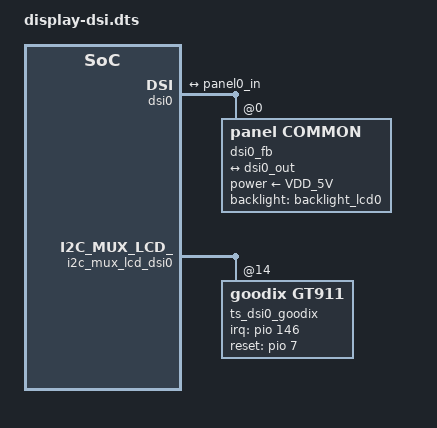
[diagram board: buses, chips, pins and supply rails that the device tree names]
/dts-v1/;
/plugin/;
#include <dt-bindings/gpio/gpio.h>
#include <dt-bindings/interrupt-controller/irq.h>
#include <dt-bindings/pinctrl/mediatek,mt8188-pinfunc.h>

/ {
	fragment@0 {
		target = <&dpi1>;
		__overlay__ {
			status = "disabled";
		};
	};

	fragment@1 {
		target = <&hdmi0>;
		__overlay__ {
			status = "disabled";
		};
	};

	fragment@2 {
		target = <&hdmi_phy>;
		__overlay__ {
			status = "disabled";
		};
	};

	fragment@3 {
		target = <&sound>;
		__overlay__ {
			dai-link-1 { /* HDMI */
				status = "disabled";
			};

			dai-link-2 { /* DPTX */
				status = "disabled";
			};
		};
	};

	fragment@4 {
		target = <&pio>;
		__overlay__ {
			dsi0_sn65dsi83_pins: dsi0-sn65dsi83-pins {
				pins-irq {
					pinmux = <PINMUX_GPIO128__FUNC_B_GPIO128>;
					bias-pull-down;
					input-enable;
				};

				pins-enable {
					pinmux = <PINMUX_GPIO25__FUNC_B_GPIO25>;
					bias-pull-down;
				};
			};

			ts_dsi0_goodix_pins: ts-dsi0-goodix-pins {
				pins-irq {
					pinmux = <PINMUX_GPIO146__FUNC_B_GPIO146>;
					bias-pull-up = <MTK_PUPD_SET_R1R0_01>;
					input-enable;
				};

				pins-reset {
					pinmux = <PINMUX_GPIO7__FUNC_B_GPIO7>;
					bias-pull-down;
				};
			};
		};
	};

	fragment@5 {
		target = <&dsi0>;
		__overlay__ {
			#address-cells = <1>;
			#size-cells = <0>;
			status = "okay";
			poweron-in-hs-mode = <0>;

			dsi0_fb: panel@0 {
				backlight = <&backlight_lcd0>;
				bits-per-color = <8>;
				bridge-de-active = <0>;
				bus-format = "rgb888";
				clocks = <&vdosys0 30>;
				clock-names = "mipi_clk";
				compatible = "panel,common";
				dsi-format = "rgb888";
				dsi-lanes = <4>;
				mode-skip-eot;
				mode-video;
				mode-video-burst;
				panel-height-mm = <136>;
				panel-width-mm = <217>;
				pinctrl-names = "sn65dsi83";
				pinctrl-0 = <&dsi0_sn65dsi83_pins>;
				power-supply = <&VDD_5V>;
				reg = <0>;
				sn65dsi83 = <&dsi0_to_lvds>;
				spwg;

				display-timings {
					mipi_t: t-dsi-default {
						clock-frequency = <71700000>;
						hactive = <1280>;
						vactive = <800>;
						hback-porch = <5>;
						hfront-porch = <151>;
						vback-porch = <2>;
						vfront-porch = <28>;
						hsync-len = <4>;
						vsync-len = <1>;
						hsync-active = <0>;
						vsync-active = <0>;
						de-active = <1>;
					};
				};

				dsi0_to_lvds: dsi0-to-lvds {
					alias = <&dsi0_to_lvds>;
					enable-gpios = <&pio 25 GPIO_ACTIVE_HIGH>;
					i2c-address = <0x2c>;
					i2c-bus = <&i2c_mux_lcd_dsi0>;
					interrupts-extended = <&pio 128 IRQ_TYPE_LEVEL_HIGH>;
				};

				port {
					panel0_in: endpoint {
						remote-endpoint = <&dsi0_out>;
					};
				};
			};

			ports {
				#address-cells = <1>;
				#size-cells = <0>;
				port@1 {
					reg = <1>;
					dsi0_out: endpoint {
						remote-endpoint = <&panel0_in>;
					};
				};
			};
		};
	};

	fragment@6 {
		target = <&i2c_mux_lcd_dsi0>;
		__overlay__ {
			ts_dsi0_goodix: ts-dsi0-goodix@14 {
				compatible = "goodix,gt911";
				display = <&dsi0>;
				esd-recovery-timeout-ms = <2000>;
				interrupts-extended = <&pio 146 IRQ_TYPE_LEVEL_HIGH>;
				irq-gpios = <&pio 146 GPIO_ACTIVE_HIGH>;
				pinctrl-names = "default";
				pinctrl-0 = <&ts_dsi0_goodix_pins>;
				reg = <0x14>; /* 0x14 or 0x5d */
				reset-gpios = <&pio 7 GPIO_ACTIVE_HIGH>;
			};
		};
	};
};
